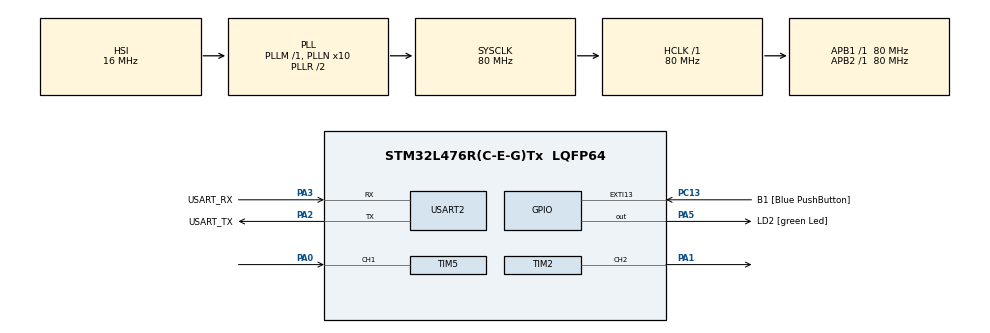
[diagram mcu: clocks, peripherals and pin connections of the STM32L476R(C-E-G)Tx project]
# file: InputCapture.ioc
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Mcu.Family=STM32L4
Mcu.Name=STM32L476R(C-E-G)Tx
Mcu.Package=LQFP64
NVIC.PriorityGroup=NVIC_PRIORITYGROUP_4
NVIC.TIM5_IRQn=true\:0\:0\:false\:false\:true\:true\:true\:true
PA0.Signal=S_TIM5_CH1
PA1.Signal=S_TIM2_CH2
PA13\ (JTMS-SWDIO).GPIO_Label=TMS
PA13\ (JTMS-SWDIO).Signal=SYS_JTMS-SWDIO
PA14\ (JTCK-SWCLK).GPIO_Label=TCK
PA14\ (JTCK-SWCLK).Signal=SYS_JTCK-SWCLK
PA2.GPIO_Label=USART_TX
PA2.GPIO_Mode=GPIO_MODE_AF_PP
PA2.GPIO_PuPd=GPIO_NOPULL
PA2.GPIO_Speed=GPIO_SPEED_FREQ_VERY_HIGH
PA2.Mode=Asynchronous
PA2.Signal=USART2_TX
PA3.GPIO_Label=USART_RX
PA3.GPIO_Mode=GPIO_MODE_AF_PP
PA3.GPIO_PuPd=GPIO_NOPULL
PA3.GPIO_Speed=GPIO_SPEED_FREQ_VERY_HIGH
PA3.Mode=Asynchronous
PA3.Signal=USART2_RX
PA5.GPIO_Label=LD2 [green Led]
PA5.GPIO_ModeDefaultOutputPP=GPIO_MODE_OUTPUT_PP
PA5.GPIO_PuPd=GPIO_NOPULL
PA5.GPIO_Speed=GPIO_SPEED_FREQ_LOW
PA5.Signal=GPIO_Output
PB3\ (JTDO-TRACESWO).GPIO_Label=SWO
PB3\ (JTDO-TRACESWO).Signal=SYS_JTDO-SWO
PC13.GPIO_Label=B1 [Blue PushButton]
PC13.GPIO_ModeDefaultEXTI=GPIO_MODE_IT_FALLING
PC13.GPIO_PuPd=GPIO_NOPULL
PC13.Signal=GPXTI13
PC14-OSC32_IN\ (PC14).Signal=RCC_OSC32_IN
PC15-OSC32_OUT\ (PC15).Signal=RCC_OSC32_OUT
PH0-OSC_IN\ (PH0).Signal=RCC_OSC_IN
PH1-OSC_OUT\ (PH1).Signal=RCC_OSC_OUT
ProjectManager.HeapSize=0x200
ProjectManager.StackSize=0x400
ProjectManager.TargetToolchain=STM32CubeIDE
RCC.ADCFreq_Value=64000000
RCC.AHBFreq_Value=80000000
RCC.APB1Freq_Value=80000000
RCC.APB1TimFreq_Value=80000000
RCC.APB2Freq_Value=80000000
RCC.APB2TimFreq_Value=80000000
RCC.CortexFreq_Value=80000000
RCC.HCLKFreq_Value=80000000
RCC.HSE_VALUE=8000000
RCC.HSI_VALUE=16000000
RCC.LSE_VALUE=32768
RCC.MSI_VALUE=4000000
RCC.PLLN=10
RCC.PLLSourceVirtual=RCC_PLLSOURCE_HSI
RCC.PREFETCH_ENABLE=1
RCC.SYSCLKFreq_VALUE=80000000
RCC.SYSCLKSource=RCC_SYSCLKSOURCE_PLLCLK
RCC.USBFreq_Value=64000000
RCC.VCOOutputFreq_Value=160000000
SH.S_TIM2_CH2.0=TIM2_CH2,PWM Generation2 CH2
SH.S_TIM5_CH1.0=TIM5_CH1,Input_Capture1_from_TI1
TIM2.AutoReloadPreload=TIM_AUTORELOAD_PRELOAD_ENABLE
TIM2.Channel-PWM\ Generation2\ CH2=TIM_CHANNEL_2
TIM2.Period=2000
TIM2.Prescaler=800-1
TIM2.Pulse-PWM\ Generation2\ CH2=1000
TIM5.AutoReloadPreload=TIM_AUTORELOAD_PRELOAD_ENABLE
TIM5.Channel-Input_Capture1_from_TI1=TIM_CHANNEL_1
TIM5.Prescaler=80-1
USART2.VirtualMode-Asynchronous=VM_ASYNC
VP_TIM2_VS_ClockSourceINT.Mode=Internal
VP_TIM5_VS_ClockSourceINT.Mode=Internal
board=NUCLEO-L476RG

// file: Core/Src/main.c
/* USER CODE BEGIN Header */
/**
  ******************************************************************************
  * @file           : main.c
  * @brief          : Main program body
  ******************************************************************************
  * @attention
  *
  * Copyright (c) 2026 STMicroelectronics.
  * All rights reserved.
  *
  * This software is licensed under terms that can be found in the LICENSE file
  * in the root directory of this software component.
  * If no LICENSE file comes with this software, it is provided AS-IS.
  *
  ******************************************************************************
  */
/* USER CODE END Header */
#include "main.h"

/* USER CODE BEGIN Includes */
#include <string.h>
#include <stdio.h>
/* USER CODE END Includes */

TIM_HandleTypeDef htim2;
TIM_HandleTypeDef htim5;

UART_HandleTypeDef huart2;

/* USER CODE BEGIN PV */
uint32_t icPTStamp = 0; // input capture previous time stamp
uint32_t icCTStamp = 0;  // input capture current time stamp
uint32_t icPeriod = 0;  // input capture period
/* USER CODE END PV */

void SystemClock_Config(void);
static void MX_GPIO_Init(void);
static void MX_TIM5_Init(void);
static void MX_USART2_UART_Init(void);
static void MX_TIM2_Init(void);

int main(void)
{

  /* USER CODE BEGIN 1 */
	uint8_t text[40];
  /* USER CODE END 1 */

  /* MCU Configuration--------------------------------------------------------*/

  /* Reset of all peripherals, Initializes the Flash interface and the Systick. */
  HAL_Init();

  /* Configure the system clock */
  SystemClock_Config();

  /* Initialize all configured peripherals */
  MX_GPIO_Init();
  MX_TIM5_Init();
  MX_USART2_UART_Init();
  MX_TIM2_Init();
  /* USER CODE BEGIN 2 */
  HAL_TIM_IC_Start_IT(&htim5, TIM_CHANNEL_1);
  HAL_TIM_PWM_Start(&htim2, TIM_CHANNEL_2);
  /* USER CODE END 2 */

  /* Infinite loop */
  /* USER CODE BEGIN WHILE */
  while (1)
  {
	  HAL_GPIO_TogglePin(GPIOA, GPIO_PIN_5);  // Toggle the green LED
	  	 HAL_Delay(333);  // Wait 1000 ms
	  	 sprintf((char*)text, "%lu us\r\n", icPeriod);
	  	 HAL_UART_Transmit(&huart2, text, strlen((char*)text), HAL_MAX_DELAY);
    /* USER CODE END WHILE */

  }
}

void SystemClock_Config(void)
{
  RCC_OscInitTypeDef RCC_OscInitStruct = {0};
  RCC_ClkInitTypeDef RCC_ClkInitStruct = {0};

  /** Configure the main internal regulator output voltage
  */
  if (HAL_PWREx_ControlVoltageScaling(PWR_REGULATOR_VOLTAGE_SCALE1) != HAL_OK)
  {
    Error_Handler();
  }

  /** Initializes the RCC Oscillators according to the specified parameters
  * in the RCC_OscInitTypeDef structure.
  */
  RCC_OscInitStruct.OscillatorType = RCC_OSCILLATORTYPE_HSI;
  RCC_OscInitStruct.HSIState = RCC_HSI_ON;
  RCC_OscInitStruct.HSICalibrationValue = RCC_HSICALIBRATION_DEFAULT;
  RCC_OscInitStruct.PLL.PLLState = RCC_PLL_ON;
  RCC_OscInitStruct.PLL.PLLSource = RCC_PLLSOURCE_HSI;
  RCC_OscInitStruct.PLL.PLLM = 1;
  RCC_OscInitStruct.PLL.PLLN = 10;
  RCC_OscInitStruct.PLL.PLLP = RCC_PLLP_DIV7;
  RCC_OscInitStruct.PLL.PLLQ = RCC_PLLQ_DIV2;
  RCC_OscInitStruct.PLL.PLLR = RCC_PLLR_DIV2;
  if (HAL_RCC_OscConfig(&RCC_OscInitStruct) != HAL_OK)
  {
    Error_Handler();
  }

  /** Initializes the CPU, AHB and APB buses clocks
  */
  RCC_ClkInitStruct.ClockType = RCC_CLOCKTYPE_HCLK|RCC_CLOCKTYPE_SYSCLK
                              |RCC_CLOCKTYPE_PCLK1|RCC_CLOCKTYPE_PCLK2;
  RCC_ClkInitStruct.SYSCLKSource = RCC_SYSCLKSOURCE_PLLCLK;
  RCC_ClkInitStruct.AHBCLKDivider = RCC_SYSCLK_DIV1;
  RCC_ClkInitStruct.APB1CLKDivider = RCC_HCLK_DIV1;
  RCC_ClkInitStruct.APB2CLKDivider = RCC_HCLK_DIV1;

  if (HAL_RCC_ClockConfig(&RCC_ClkInitStruct, FLASH_LATENCY_4) != HAL_OK)
  {
    Error_Handler();
  }
}

static void MX_TIM2_Init(void)
{

  TIM_ClockConfigTypeDef sClockSourceConfig = {0};
  TIM_MasterConfigTypeDef sMasterConfig = {0};
  TIM_OC_InitTypeDef sConfigOC = {0};

  htim2.Instance = TIM2;
  htim2.Init.Prescaler = 800-1;
  htim2.Init.CounterMode = TIM_COUNTERMODE_UP;
  htim2.Init.Period = 2000;
  htim2.Init.ClockDivision = TIM_CLOCKDIVISION_DIV1;
  htim2.Init.AutoReloadPreload = TIM_AUTORELOAD_PRELOAD_ENABLE;
  if (HAL_TIM_Base_Init(&htim2) != HAL_OK)
  {
    Error_Handler();
  }
  sClockSourceConfig.ClockSource = TIM_CLOCKSOURCE_INTERNAL;
  if (HAL_TIM_ConfigClockSource(&htim2, &sClockSourceConfig) != HAL_OK)
  {
    Error_Handler();
  }
  if (HAL_TIM_PWM_Init(&htim2) != HAL_OK)
  {
    Error_Handler();
  }
  sMasterConfig.MasterOutputTrigger = TIM_TRGO_RESET;
  sMasterConfig.MasterSlaveMode = TIM_MASTERSLAVEMODE_DISABLE;
  if (HAL_TIMEx_MasterConfigSynchronization(&htim2, &sMasterConfig) != HAL_OK)
  {
    Error_Handler();
  }
  sConfigOC.OCMode = TIM_OCMODE_PWM1;
  sConfigOC.Pulse = 1000;
  sConfigOC.OCPolarity = TIM_OCPOLARITY_HIGH;
  sConfigOC.OCFastMode = TIM_OCFAST_DISABLE;
  if (HAL_TIM_PWM_ConfigChannel(&htim2, &sConfigOC, TIM_CHANNEL_2) != HAL_OK)
  {
    Error_Handler();
  }
  HAL_TIM_MspPostInit(&htim2);

}

static void MX_TIM5_Init(void)
{

  TIM_ClockConfigTypeDef sClockSourceConfig = {0};
  TIM_MasterConfigTypeDef sMasterConfig = {0};
  TIM_IC_InitTypeDef sConfigIC = {0};

  htim5.Instance = TIM5;
  htim5.Init.Prescaler = 80-1;
  htim5.Init.CounterMode = TIM_COUNTERMODE_UP;
  htim5.Init.Period = 4294967295;
  htim5.Init.ClockDivision = TIM_CLOCKDIVISION_DIV1;
  htim5.Init.AutoReloadPreload = TIM_AUTORELOAD_PRELOAD_ENABLE;
  if (HAL_TIM_Base_Init(&htim5) != HAL_OK)
  {
    Error_Handler();
  }
  sClockSourceConfig.ClockSource = TIM_CLOCKSOURCE_INTERNAL;
  if (HAL_TIM_ConfigClockSource(&htim5, &sClockSourceConfig) != HAL_OK)
  {
    Error_Handler();
  }
  if (HAL_TIM_IC_Init(&htim5) != HAL_OK)
  {
    Error_Handler();
  }
  sMasterConfig.MasterOutputTrigger = TIM_TRGO_RESET;
  sMasterConfig.MasterSlaveMode = TIM_MASTERSLAVEMODE_DISABLE;
  if (HAL_TIMEx_MasterConfigSynchronization(&htim5, &sMasterConfig) != HAL_OK)
  {
    Error_Handler();
  }
  sConfigIC.ICPolarity = TIM_INPUTCHANNELPOLARITY_RISING;
  sConfigIC.ICSelection = TIM_ICSELECTION_DIRECTTI;
  sConfigIC.ICPrescaler = TIM_ICPSC_DIV1;
  sConfigIC.ICFilter = 0;
  if (HAL_TIM_IC_ConfigChannel(&htim5, &sConfigIC, TIM_CHANNEL_1) != HAL_OK)
  {
    Error_Handler();
  }

}

static void MX_USART2_UART_Init(void)
{

  huart2.Instance = USART2;
  huart2.Init.BaudRate = 115200;
  huart2.Init.WordLength = UART_WORDLENGTH_8B;
  huart2.Init.StopBits = UART_STOPBITS_1;
  huart2.Init.Parity = UART_PARITY_NONE;
  huart2.Init.Mode = UART_MODE_TX_RX;
  huart2.Init.HwFlowCtl = UART_HWCONTROL_NONE;
  huart2.Init.OverSampling = UART_OVERSAMPLING_16;
  huart2.Init.OneBitSampling = UART_ONE_BIT_SAMPLE_DISABLE;
  huart2.AdvancedInit.AdvFeatureInit = UART_ADVFEATURE_NO_INIT;
  if (HAL_UART_Init(&huart2) != HAL_OK)
  {
    Error_Handler();
  }

}

static void MX_GPIO_Init(void)
{
  GPIO_InitTypeDef GPIO_InitStruct = {0};

  /* GPIO Ports Clock Enable */
  __HAL_RCC_GPIOC_CLK_ENABLE();
  __HAL_RCC_GPIOH_CLK_ENABLE();
  __HAL_RCC_GPIOA_CLK_ENABLE();
  __HAL_RCC_GPIOB_CLK_ENABLE();

  /*Configure GPIO pin Output Level */
  HAL_GPIO_WritePin(LD2_GPIO_Port, LD2_Pin, GPIO_PIN_RESET);

  /*Configure GPIO pin : B1_Pin */
  GPIO_InitStruct.Pin = B1_Pin;
  GPIO_InitStruct.Mode = GPIO_MODE_IT_FALLING;
  GPIO_InitStruct.Pull = GPIO_NOPULL;
  HAL_GPIO_Init(B1_GPIO_Port, &GPIO_InitStruct);

  /*Configure GPIO pin : LD2_Pin */
  GPIO_InitStruct.Pin = LD2_Pin;
  GPIO_InitStruct.Mode = GPIO_MODE_OUTPUT_PP;
  GPIO_InitStruct.Pull = GPIO_NOPULL;
  GPIO_InitStruct.Speed = GPIO_SPEED_FREQ_LOW;
  HAL_GPIO_Init(LD2_GPIO_Port, &GPIO_InitStruct);

}

/* USER CODE BEGIN 4 */
void HAL_TIM_IC_CaptureCallback(TIM_HandleTypeDef *htim)
{
   if (htim->Channel == HAL_TIM_ACTIVE_CHANNEL_1){
	   icPTStamp = icCTStamp;  // Let or update the previous time stamp be the previous current time stamp
	   icCTStamp = HAL_TIM_ReadCapturedValue(htim, TIM_CHANNEL_1);  // let the current time stamp be the current one
	   if (icCTStamp > icPTStamp) {
	       icPeriod = icCTStamp - icPTStamp;
	   } else {
	       icPeriod = 0xFFFFFFFF - icPTStamp + icCTStamp + 1;
	   }
   }
}
/* USER CODE END 4 */

void Error_Handler(void)
{
  __disable_irq();
  while (1)
  {
  }
}
